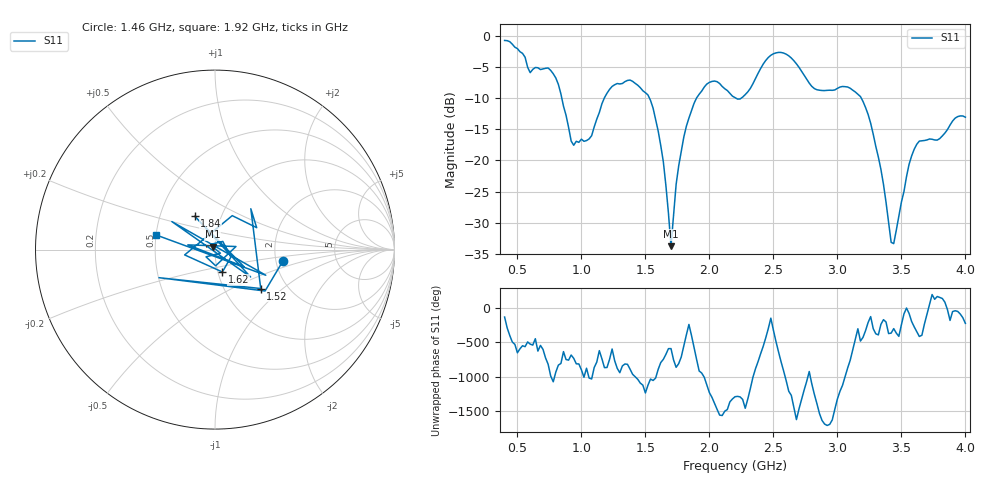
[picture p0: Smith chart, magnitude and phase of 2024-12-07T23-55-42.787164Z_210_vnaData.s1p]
!Created with skrf (http://scikit-rf.org).
# Hz S RI R 50.0
!freq ReS11 ImS11
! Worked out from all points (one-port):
!   181 points, 400 MHz to 4 GHz, reference 50 ohm
!   lowest |S11| = -33.7 dB at 1.7 GHz (marker M1), VSWR 1.04, Z = 48.7 + j1.52 ohm
!   |S11| at or under -10 dB: 846.6 MHz to 1.179 GHz (332.3 MHz wide, 32.8 % of centre); 1.531 GHz to 1.9 GHz (368.3 MHz wide, 21.5 % of centre); 3.186 GHz to end of sweep (the widest 3 of 4)
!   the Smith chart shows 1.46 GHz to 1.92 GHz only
!   S11 on the Smith chart (normalised r, x): 1.46 GHz: 2.18, -0.33; 1.52 GHz: 1.47, -0.72; 1.62 GHz: 1.05, -0.27; 1.84 GHz: 0.75, +0.29; 1.92 GHz: 0.50, +0.09
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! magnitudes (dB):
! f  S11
! 400 MHz  -0.8
! 600 MHz  -5.9
! 760 MHz  -5.6
! 860 MHz  -11.3
! 940 MHz  -17.6
! 1.04 GHz  -16.8
! 1.2 GHz  -9.2
! 1.3 GHz  -7.7
! 1.46 GHz  -8.3
! 1.52 GHz  -9.5
! 1.62 GHz  -17.6
! 1.7 GHz  -33.7
! 1.76 GHz  -20.9
! 1.84 GHz  -13.2
! 1.92 GHz  -9.4
! 2.04 GHz  -7.3
! 2.2 GHz  -9.9
! 2.48 GHz  -3.1
! 2.66 GHz  -4.0
! 2.82 GHz  -8.5
! 3.1 GHz  -8.4
! 3.26 GHz  -14.0
! 3.34 GHz  -21.4
! 3.42 GHz  -33.1
! 3.44 GHz  -33.3
! 3.56 GHz  -20.6
! 3.64 GHz  -16.9
! 4 GHz  -13.1
